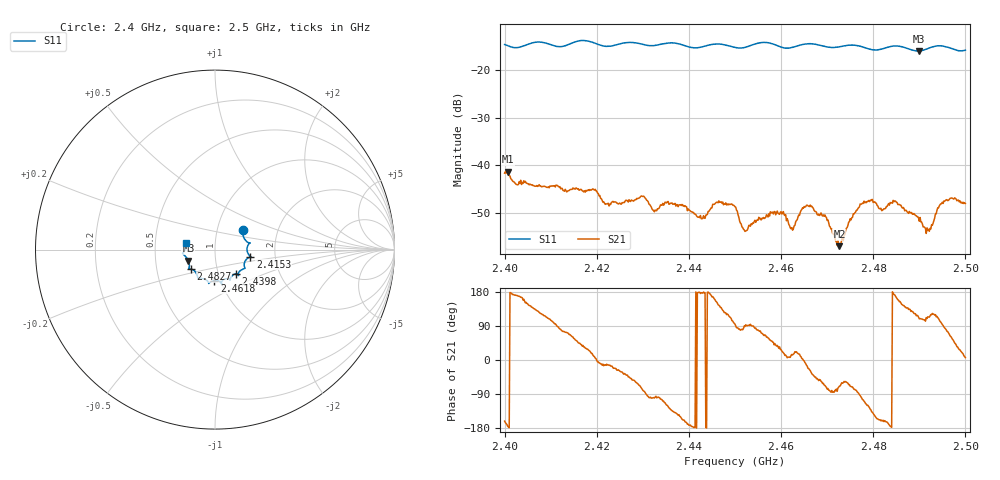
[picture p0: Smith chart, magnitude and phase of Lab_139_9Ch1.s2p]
# Hz S RI R 50
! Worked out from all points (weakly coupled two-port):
!   601 points, 2.4 GHz to 2.5 GHz, reference 50 ohm
!   highest |S21| = -41.36 dB at 2.4007 GHz (marker M1); lowest = -57.1 dB at 2.4727 GHz (marker M2)
!   lowest |S11| = -15.9 dB at 2.4898 GHz (marker M3), VSWR 1.38, Z = 36.9 - j4.63 ohm
!   |S11| at or under -10 dB: start of sweep to end of sweep
!   S12 and S22 are empty: the file has one direction only
!   S11 on the Smith chart (normalised r, x): 2.4 GHz: 1.33, +0.29; 2.4153 GHz: 1.48, -0.12; 2.4398 GHz: 1.21, -0.34; 2.4618 GHz: 0.94, -0.33; 2.4827 GHz: 0.75, -0.17; 2.5 GHz: 0.72, +0.06
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2.4e9  0.1545 0.1067  -0.00781 -0.00264  0 0  0 0
2.400667e9  0.1555 0.0966  -0.00851 -0.000751  0 0  0 0
2.4025e9  0.1609 0.0663  -0.00619 0.00105  0 0  0 0
2.415333e9  0.1966 -0.039  0.00335 0.00447  0 0  0 0
2.416667e9  0.2025 -0.0431  0.00422 0.00358  0 0  0 0
2.433333e9  0.1295 -0.1341  -0.000466 -0.00343  0 0  0 0
2.439833e9  0.115 -0.1355  -0.0034 -0.000646  0 0  0 0
2.443e9  0.0887 -0.1543  -0.00273 0.000175  0 0  0 0
2.446167e9  0.0848 -0.1704  -0.00352 0.00201  0 0  0 0
2.45e9  0.0654 -0.1624  -0.000289 0.00364  0 0  0 0
2.452167e9  0.0434 -0.1699  5.29e-05 0.002  0 0  0 0
2.458167e9  0.0362 -0.1872  0.00217 0.00235  0 0  0 0
2.461833e9  -0.00343 -0.1727  0.00229 0.00029  0 0  0 0
2.466667e9  -0.0349 -0.188  0.00298 -0.00217  0 0  0 0
2.472667e9  -0.0774 -0.1601  0.0005 -0.0013  0 0  0 0
2.4775e9  -0.0976 -0.149  -0.000707 -0.00383  0 0  0 0
2.482667e9  -0.1348 -0.1086  -0.00332 -0.00106  0 0  0 0
2.483333e9  -0.14 -0.1082  -0.00386 -0.000748  0 0  0 0
2.489833e9  -0.1481 -0.0612  -0.00107 0.00256  0 0  0 0
2.492e9  -0.1679 -0.0341  -0.000838 0.00193  0 0  0 0
2.4955e9  -0.1786 -0.0175  0.000391 0.00416  0 0  0 0
2.5e9  -0.1592 0.0389  0.00392 0.000428  0 0  0 0
